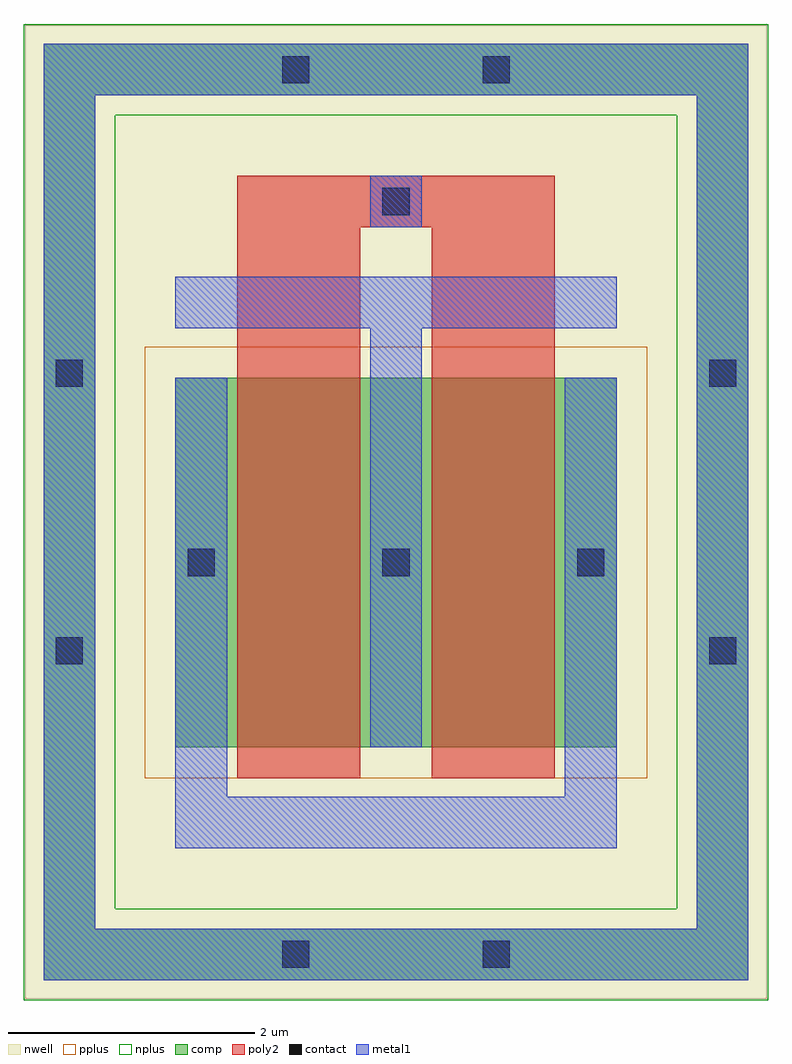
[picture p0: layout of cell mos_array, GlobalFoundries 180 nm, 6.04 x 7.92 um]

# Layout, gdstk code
import gdstk
lib = gdstk.Library(unit=1e-6, precision=5e-10)
def R(c, l, rs):  # rectangles x0, y0, x1, y1
    for r in rs: c.add(gdstk.rectangle(r[:2], r[2:], *l))
def A(c, l, x, y, w, h, nx, ny, dx, dy):  # array of equal rectangles
    R(c, l, [(x+i*dx, y+j*dy, x+i*dx+w, y+j*dy+h) for i in range(nx) for j in range(ny)])
def P(c, l, *ps):  # polygons
    for p in ps: c.add(gdstk.Polygon(p, *l))
nwell = (21, 0)
comp = (22, 0)
poly2 = (30, 0)
pplus = (31, 0)
nplus = (32, 0)
contact = (33, 0)
metal1 = (34, 0)

mos_array = lib.new_cell('mos_array')
R(mos_array, nwell, [(-1.22,-1.22,4.8,6.68), (-0.15,-0.15,3.73,5.61)])
R(mos_array, comp, [(0,0.82,3.58,3.82)])
P(mos_array, comp, [(-1.07,-1.07),(-1.07,6.11),(-0.65,6.11),(-0.65,-0.65),(4.23,-0.65),(4.23,6.11),(-1.07,6.11),(-1.07,6.53),(4.65,6.53),(4.65,-1.07)])
R(mos_array, poly2, [(0.5,0.57,1.5,5.04), (2.08,0.57,3.08,5.04), (0.5,5.04,3.08,5.46)])
R(mos_array, pplus, [(-0.25,0.57,3.83,4.07)])
P(mos_array, nplus, [(-1.23,-1.23),(-1.23,5.95),(-0.49,5.95),(-0.49,-0.49),(4.07,-0.49),(4.07,5.95),(-1.23,5.95),(-1.23,6.69),(4.81,6.69),(4.81,-1.23)])
A(mos_array, contact, 0.1, 2.21, 0.22, 0.22, 3, 1, 1.58, 0)
R(mos_array, contact, [(0.865,-0.97,1.085,-0.75), (2.495,-0.97,2.715,-0.75), (-0.97,1.495,-0.75,1.715), (4.33,1.495,4.55,1.715), (-0.97,3.745,-0.75,3.965), (4.33,3.745,4.55,3.965), (1.68,5.14,1.9,5.36), (0.865,6.21,1.085,6.43), (2.495,6.21,2.715,6.43)])
A(mos_array, metal1, 0, 0.82, 0.42, 3, 3, 1, 1.58, 0)
R(mos_array, metal1, [(0,0,3.58,0.42), (0,0.42,0.42,0.82), (3.16,0.42,3.58,0.82), (1.58,3.82,2,4.22), (0,4.22,3.58,4.64), (1.58,5.04,2,5.46)])
P(mos_array, metal1, [(-1.07,-1.07),(-1.07,6.11),(-0.65,6.11),(-0.65,-0.65),(4.23,-0.65),(4.23,6.11),(-1.07,6.11),(-1.07,6.53),(4.65,6.53),(4.65,-1.07)])

lib.write_gds('mos_array.gds')
